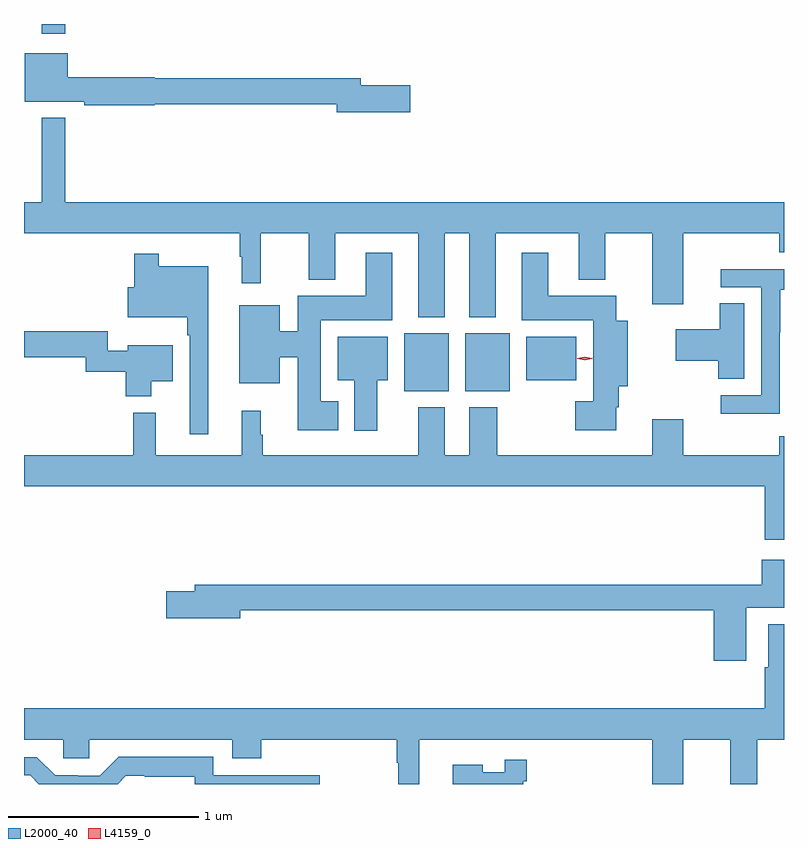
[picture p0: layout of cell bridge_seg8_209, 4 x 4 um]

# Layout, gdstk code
import gdstk
lib = gdstk.Library(unit=1e-6, precision=1e-09)
def R(c, l, rs):  # rectangles x0, y0, x1, y1
    for r in rs: c.add(gdstk.rectangle(r[:2], r[2:], *l))
def P(c, l, *ps):  # polygons
    for p in ps: c.add(gdstk.Polygon(p, *l))
L2000_40 = (2000, 40)
L4159_0 = (4159, 0)

bridge_seg8_209 = lib.new_cell('bridge_seg8_209')
R(bridge_seg8_209, L2000_40, [(199.667,1120.997,199.9,1121.302), (199.988,1120.997,200.221,1121.302), (200.309,1121.054,200.572,1121.284), (197.759,1122.879,197.881,1122.93)])
P(bridge_seg8_209, L2000_40, [(199.699,1122.608),(199.438,1122.608),(199.438,1122.644),(198.354,1122.644),(198.354,1122.65),(197.896,1122.65),(197.896,1122.775),(197.669,1122.775),(197.669,1122.521),(197.982,1122.521),(197.982,1122.503),(198.354,1122.503),(198.354,1122.508),(199.31,1122.508),(199.31,1122.466),(199.699,1122.466)],
  [(199.879,1121.828),(200.009,1121.828),(200.009,1121.387),(200.149,1121.387),(200.149,1121.828),(200.585,1121.828),(200.585,1121.585),(200.725,1121.585),(200.725,1121.828),(200.972,1121.828),(200.972,1121.454),(201.136,1121.454),(201.136,1121.828),(201.641,1121.828),(201.641,1121.729),(201.665,1121.729),(201.665,1121.992),(197.881,1121.992),(197.881,1122.436),(197.759,1122.436),(197.759,1121.992),(197.665,1121.992),(197.665,1121.828),(198.801,1121.828),(198.801,1121.705),(198.812,1121.705),(198.812,1121.565),(198.912,1121.565),(198.912,1121.828),(199.163,1121.828),(199.163,1121.585),(199.303,1121.585),(199.303,1121.828),(199.739,1121.828),(199.739,1121.387),(199.879,1121.387)],
  [(199.318,1120.945),(199.228,1120.945),(199.228,1121.372),(199.603,1121.372),(199.603,1121.725),(199.463,1121.725),(199.463,1121.5),(199.106,1121.5),(199.106,1121.312),(199.012,1121.312),(199.012,1121.449),(198.797,1121.449),(198.797,1121.039),(199.012,1121.039),(199.012,1121.176),(199.106,1121.176),(199.106,1120.793),(199.318,1120.793)],
  [(200.782,1120.913),(200.795,1120.913),(200.795,1121.024),(200.842,1121.024),(200.842,1121.368),(200.782,1121.368),(200.782,1121.5),(200.425,1121.5),(200.425,1121.725),(200.285,1121.725),(200.285,1121.372),(200.66,1121.372),(200.66,1120.945),(200.565,1120.945),(200.565,1120.793),(200.782,1120.793)],
  [(198.634,1121.656),(198.373,1121.656),(198.373,1121.722),(198.244,1121.722),(198.244,1121.545),(198.21,1121.545),(198.21,1121.387),(198.525,1121.387),(198.525,1121.291),(198.537,1121.291),(198.537,1120.77),(198.634,1120.77)],
  [(201.642,1121.308),(201.645,1121.308),(201.645,1121.532),(201.665,1121.532),(201.665,1121.64),(201.333,1121.64),(201.333,1121.544),(201.546,1121.544),(201.546,1120.977),(201.333,1120.977),(201.333,1120.879),(201.642,1120.879)],
  [(201.457,1121.459),(201.326,1121.459),(201.326,1121.323),(201.096,1121.323),(201.096,1121.158),(201.319,1121.158),(201.319,1121.062),(201.457,1121.062)],
  [(198.334,1121.051),(198.448,1121.051),(198.448,1121.239),(198.212,1121.239),(198.212,1121.209),(198.105,1121.209),(198.105,1121.312),(197.665,1121.312),(197.665,1121.176),(197.989,1121.176),(197.989,1121.1),(198.2,1121.1),(198.2,1120.97),(198.334,1120.97)],
  [(199.525,1121.054),(199.579,1121.054),(199.579,1121.284),(199.316,1121.284),(199.316,1121.054),(199.403,1121.054),(199.403,1120.788),(199.525,1120.788)],
  [(201.665,1120.759),(201.641,1120.759),(201.641,1120.66),(201.136,1120.66),(201.136,1120.849),(200.972,1120.849),(200.972,1120.66),(200.157,1120.66),(200.157,1120.912),(200.009,1120.912),(200.009,1120.66),(199.879,1120.66),(199.879,1120.912),(199.739,1120.912),(199.739,1120.66),(198.922,1120.66),(198.922,1120.769),(198.911,1120.769),(198.911,1120.894),(198.812,1120.894),(198.812,1120.66),(198.359,1120.66),(198.359,1120.885),(198.241,1120.885),(198.241,1120.66),(197.665,1120.66),(197.665,1120.496),(201.564,1120.496),(201.564,1120.215),(201.665,1120.215)],
  [(201.466,1119.857),(201.665,1119.857),(201.665,1120.111),(201.548,1120.111),(201.548,1119.98),(198.563,1119.98),(198.563,1119.944),(198.414,1119.944),(198.414,1119.802),(198.802,1119.802),(198.802,1119.844),(201.296,1119.844),(201.296,1119.579),(201.466,1119.579)],
  [(199.744,1119.164),(200.972,1119.164),(200.972,1118.93),(201.136,1118.93),(201.136,1119.164),(201.383,1119.164),(201.383,1118.93),(201.523,1118.93),(201.523,1119.164),(201.665,1119.164),(201.665,1119.772),(201.581,1119.772),(201.581,1119.545),(201.564,1119.545),(201.564,1119.328),(197.665,1119.328),(197.665,1119.164),(197.871,1119.164),(197.871,1119.066),(198.009,1119.066),(198.009,1119.164),(198.761,1119.164),(198.761,1119.065),(198.914,1119.065),(198.914,1119.164),(199.627,1119.164),(199.627,1119.041),(199.635,1119.041),(199.635,1118.93),(199.744,1118.93)],
  [(198.201,1118.973),(198.301,1118.973),(198.301,1118.969),(198.564,1118.969),(198.564,1118.93),(199.222,1118.93),(199.222,1118.976),(198.66,1118.976),(198.66,1119.073),(198.163,1119.073),(198.063,1118.973),(197.948,1118.973),(197.948,1118.976),(197.829,1118.976),(197.733,1119.072),(197.665,1119.072),(197.665,1118.976),(197.697,1118.976),(197.743,1118.93),(198.158,1118.93)],
  [(200.292,1118.945),(200.312,1118.945),(200.312,1119.058),(200.196,1119.058),(200.196,1118.992),(200.08,1118.992),(200.08,1119.031),(199.922,1119.031),(199.922,1118.93),(200.292,1118.93)])
P(bridge_seg8_209, L4159_0, [(200.616,1121.16),(200.576,1121.169),(200.576,1121.17),(200.576,1121.17),(200.616,1121.18),(200.655,1121.17),(200.655,1121.17),(200.655,1121.169)])

lib.write_gds('bridge_seg8_209.gds')
